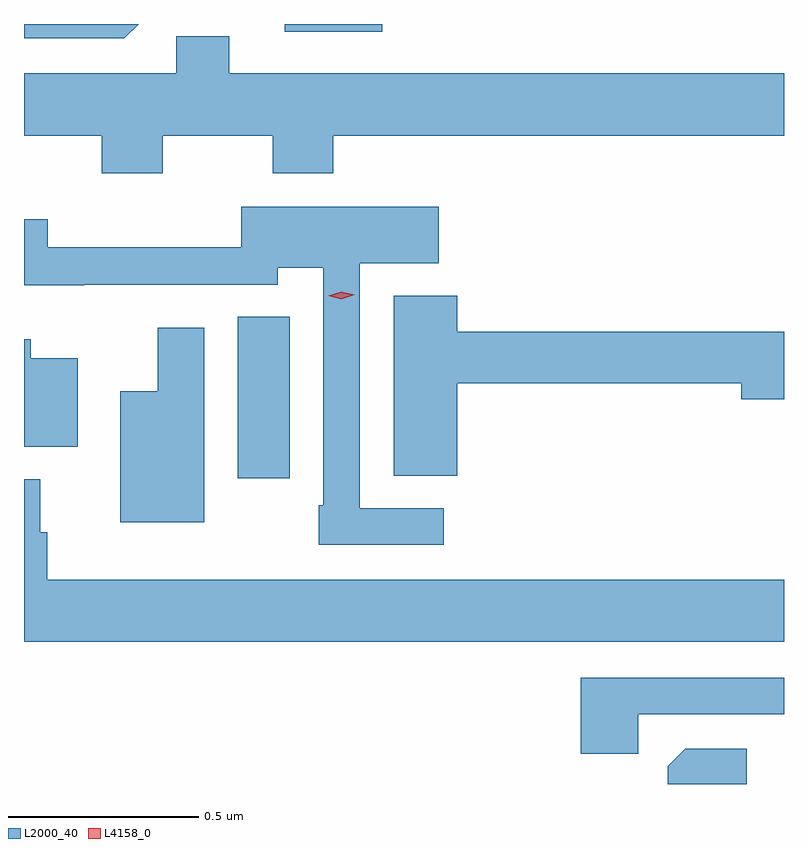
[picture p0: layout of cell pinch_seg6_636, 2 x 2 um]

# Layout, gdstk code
import gdstk
lib = gdstk.Library(unit=1e-6, precision=1e-09)
def R(c, l, rs):  # rectangles x0, y0, x1, y1
    for r in rs: c.add(gdstk.rectangle(r[:2], r[2:], *l))
def P(c, l, *ps):  # polygons
    for p in ps: c.add(gdstk.Polygon(p, *l))
L2000_40 = (2000, 40)
L4158_0 = (4158, 0)

pinch_seg6_636 = lib.new_cell('pinch_seg6_636')
R(pinch_seg6_636, L2000_40, [(498.35,967.746,498.487,968.171), (498.474,968.922,498.731,968.942)])
P(pinch_seg6_636, L2000_40, [(498.09,968.942),(497.788,968.942),(497.788,968.904),(498.052,968.904)],
  [(498.153,968.648),(498.442,968.648),(498.442,968.549),(498.602,968.549),(498.602,968.648),(499.788,968.648),(499.788,968.812),(498.328,968.812),(498.328,968.91),(498.189,968.91),(498.189,968.812),(497.788,968.812),(497.788,968.648),(497.993,968.648),(497.993,968.549),(498.153,968.549)],
  [(498.892,967.668),(498.672,967.668),(498.672,968.312),(498.88,968.312),(498.88,968.461),(498.36,968.461),(498.36,968.354),(497.851,968.354),(497.851,968.428),(497.788,968.428),(497.788,968.255),(497.947,968.255),(497.947,968.256),(498.456,968.256),(498.456,968.3),(498.576,968.3),(498.576,967.675),(498.564,967.675),(498.564,967.572),(498.892,967.572)],
  [(498.928,967.996),(499.676,967.996),(499.676,967.954),(499.788,967.954),(499.788,968.132),(498.928,968.132),(498.928,968.227),(498.761,968.227),(498.761,967.753),(498.928,967.753)],
  [(498.262,968.143),(498.14,968.143),(498.14,967.975),(498.041,967.975),(498.041,967.631),(498.262,967.631)],
  [(497.929,968.062),(497.806,968.062),(497.806,968.113),(497.788,968.113),(497.788,967.829),(497.929,967.829)],
  [(499.788,967.48),(497.849,967.48),(497.849,967.604),(497.831,967.604),(497.831,967.744),(497.788,967.744),(497.788,967.316),(499.788,967.316)],
  [(499.404,967.125),(499.788,967.125),(499.788,967.221),(499.253,967.221),(499.253,967.022),(499.404,967.022)],
  [(499.69,967.035),(499.528,967.035),(499.482,966.989),(499.482,966.942),(499.69,966.942)])
P(pinch_seg6_636, L4158_0, [(498.623,968.218),(498.589,968.227),(498.588,968.227),(498.589,968.227),(498.623,968.238),(498.658,968.229),(498.658,968.229),(498.658,968.229)])

lib.write_gds('pinch_seg6_636.gds')
